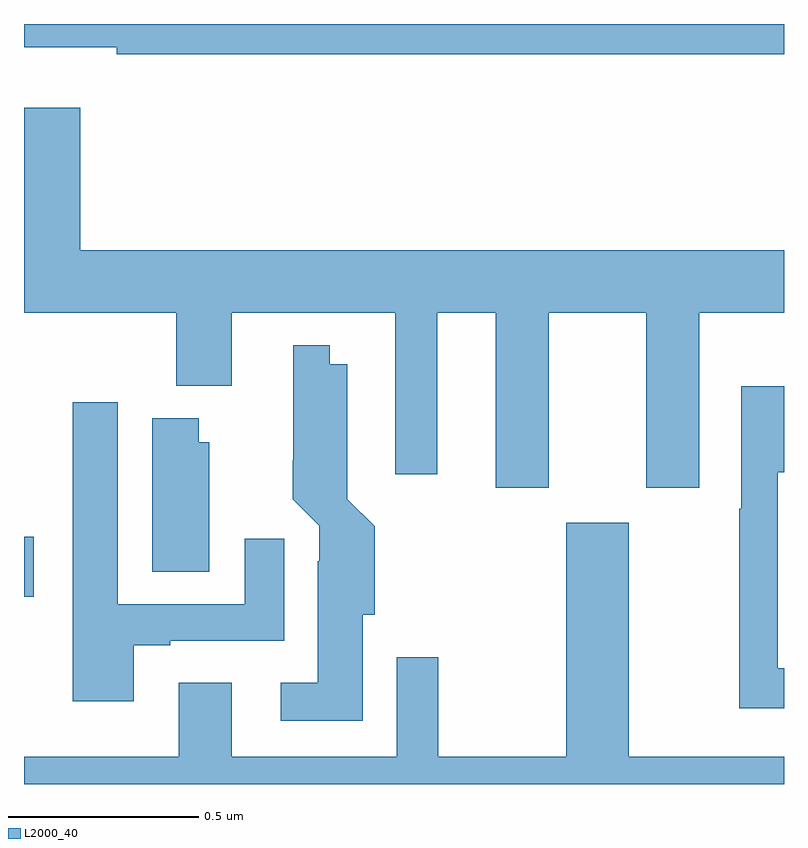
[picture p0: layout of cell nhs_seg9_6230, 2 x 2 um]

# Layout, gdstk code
import gdstk
lib = gdstk.Library(unit=1e-6, precision=1e-09)
def R(c, l, rs):  # rectangles x0, y0, x1, y1
    for r in rs: c.add(gdstk.rectangle(r[:2], r[2:], *l))
def P(c, l, *ps):  # polygons
    for p in ps: c.add(gdstk.Polygon(p, *l))
L2000_40 = (2000, 40)

nhs_seg9_6230 = lib.new_cell('nhs_seg9_6230')
R(nhs_seg9_6230, L2000_40, [(189,1208.993,189.025,1209.151)])
P(nhs_seg9_6230, L2000_40, [(191,1210.5),(189,1210.5),(189,1210.439),(189.244,1210.439),(189.244,1210.42),(191,1210.42)],
  [(190.381,1209.74),(190.637,1209.74),(190.637,1209.279),(190.777,1209.279),(190.777,1209.74),(191,1209.74),(191,1209.904),(189.148,1209.904),(189.148,1210.279),(189,1210.279),(189,1209.74),(189.4,1209.74),(189.4,1209.548),(189.547,1209.548),(189.547,1209.74),(189.977,1209.74),(189.977,1209.315),(190.087,1209.315),(190.087,1209.74),(190.241,1209.74),(190.241,1209.279),(190.381,1209.279)],
  [(189.892,1208.946),(189.923,1208.946),(189.923,1209.178),(189.851,1209.25),(189.851,1209.349),(189.85,1209.349),(189.85,1209.604),(189.805,1209.604),(189.805,1209.655),(189.708,1209.655),(189.708,1209.352),(189.707,1209.352),(189.707,1209.25),(189.777,1209.18),(189.777,1209.086),(189.773,1209.086),(189.773,1208.767),(189.675,1208.767),(189.675,1208.666),(189.892,1208.666)],
  [(191,1208.805),(190.983,1208.805),(190.983,1209.321),(191,1209.321),(191,1209.547),(190.887,1209.547),(190.887,1209.224),(190.882,1209.224),(190.882,1208.7),(191,1208.7)],
  [(189.289,1208.865),(189.385,1208.865),(189.385,1208.877),(189.685,1208.877),(189.685,1209.145),(189.581,1209.145),(189.581,1208.973),(189.247,1208.973),(189.247,1209.505),(189.128,1209.505),(189.128,1208.718),(189.289,1208.718)],
  [(189.487,1209.399),(189.46,1209.399),(189.46,1209.463),(189.338,1209.463),(189.338,1209.058),(189.487,1209.058)],
  [(191,1208.572),(190.591,1208.572),(190.591,1209.187),(190.427,1209.187),(190.427,1208.572),(190.09,1208.572),(190.09,1208.833),(189.981,1208.833),(189.981,1208.572),(189.547,1208.572),(189.547,1208.767),(189.407,1208.767),(189.407,1208.572),(189,1208.572),(189,1208.5),(191,1208.5)])

lib.write_gds('nhs_seg9_6230.gds')
